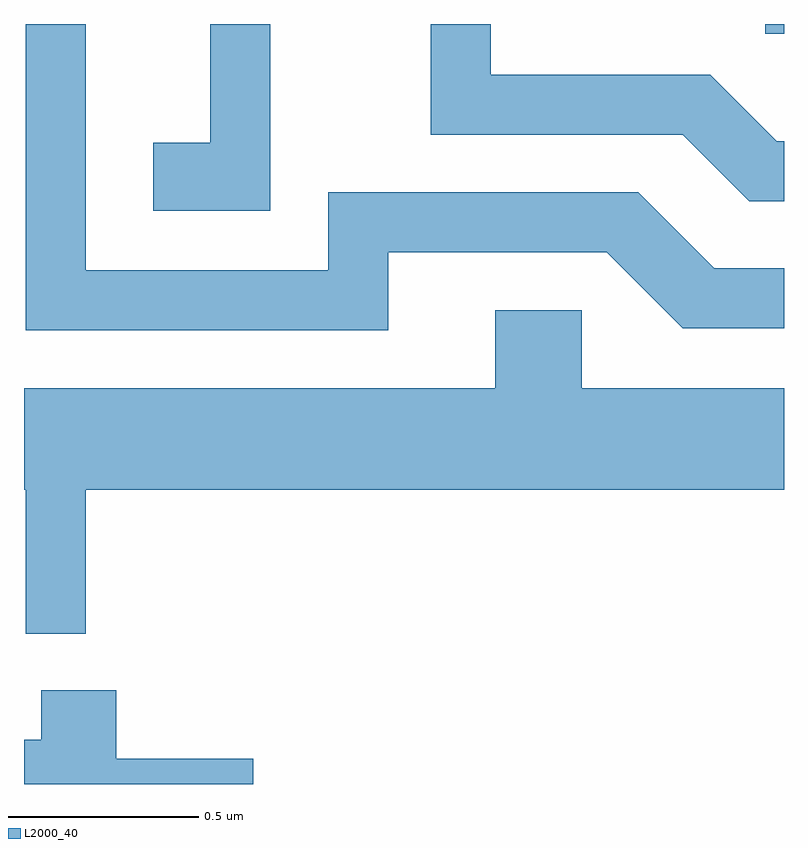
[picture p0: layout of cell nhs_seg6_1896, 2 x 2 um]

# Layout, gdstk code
import gdstk
lib = gdstk.Library(unit=1e-6, precision=1e-09)
def R(c, l, rs):  # rectangles x0, y0, x1, y1
    for r in rs: c.add(gdstk.rectangle(r[:2], r[2:], *l))
def P(c, l, *ps):  # polygons
    for p in ps: c.add(gdstk.Polygon(p, *l))
L2000_40 = (2000, 40)

nhs_seg6_1896 = lib.new_cell('nhs_seg6_1896')
R(nhs_seg6_1896, L2000_40, [(200.561,1651.136,200.611,1651.162)])
P(nhs_seg6_1896, L2000_40, [(199.259,1651.162),(199.101,1651.162),(199.101,1650.849),(198.951,1650.849),(198.951,1650.671),(199.259,1650.671)],
  [(200.611,1650.854),(200.592,1650.854),(200.417,1651.029),(199.839,1651.029),(199.839,1651.162),(199.681,1651.162),(199.681,1650.871),(200.344,1650.871),(200.519,1650.696),(200.611,1650.696)],
  [(199.569,1650.561),(200.144,1650.561),(200.344,1650.361),(200.611,1650.361),(200.611,1650.519),(200.427,1650.519),(200.227,1650.719),(199.411,1650.719),(199.411,1650.514),(198.774,1650.514),(198.774,1651.162),(198.616,1651.162),(198.616,1650.356),(199.569,1650.356)],
  [(198.774,1649.936),(200.611,1649.936),(200.611,1650.204),(200.079,1650.204),(200.079,1650.409),(199.851,1650.409),(199.851,1650.204),(198.611,1650.204),(198.611,1649.936),(198.616,1649.936),(198.616,1649.558),(198.774,1649.558)],
  [(199.214,1649.229),(198.854,1649.229),(198.854,1649.409),(198.656,1649.409),(198.656,1649.279),(198.611,1649.279),(198.611,1649.162),(199.214,1649.162)])

lib.write_gds('nhs_seg6_1896.gds')
